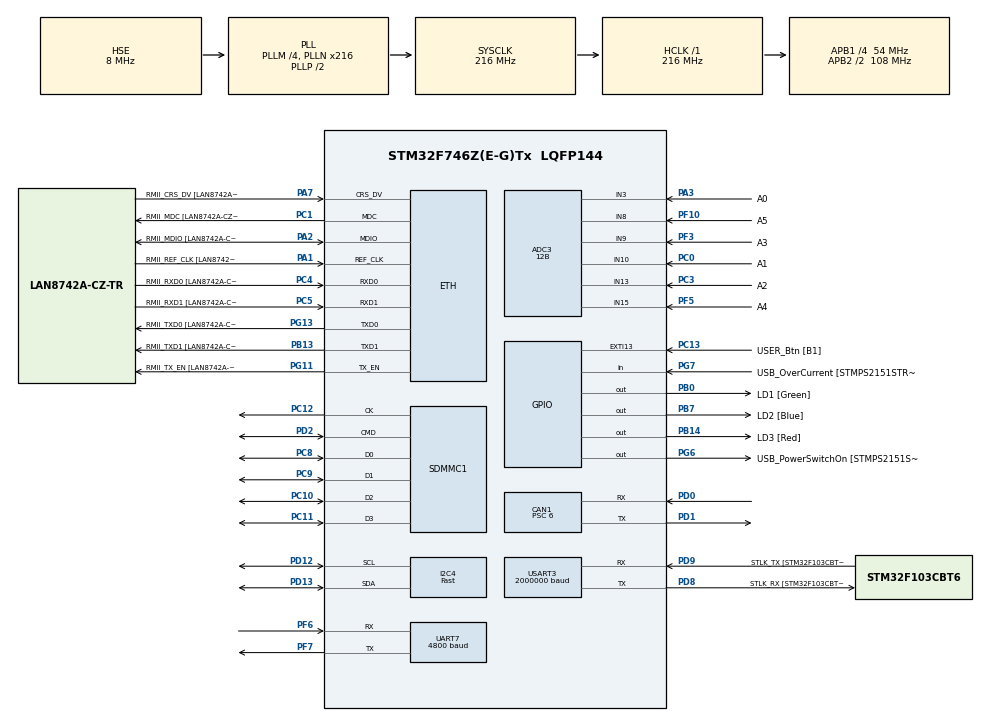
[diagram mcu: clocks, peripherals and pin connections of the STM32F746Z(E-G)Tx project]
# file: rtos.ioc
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ADC3.Channel-0\#ChannelRegularConversion=ADC_CHANNEL_3
ADC3.Channel-1\#ChannelRegularConversion=ADC_CHANNEL_10
ADC3.Channel-2\#ChannelRegularConversion=ADC_CHANNEL_13
ADC3.Channel-3\#ChannelRegularConversion=ADC_CHANNEL_9
ADC3.Channel-4\#ChannelRegularConversion=ADC_CHANNEL_15
ADC3.Channel-5\#ChannelRegularConversion=ADC_CHANNEL_8
ADC3.ClockPrescaler=ADC_CLOCK_SYNC_PCLK_DIV4
ADC3.ContinuousConvMode=ENABLE
ADC3.DMAContinuousRequests=ENABLE
ADC3.DataAlign=ADC_DATAALIGN_RIGHT
ADC3.DiscontinuousConvMode=DISABLE
ADC3.EOCSelection=ADC_EOC_SEQ_CONV
ADC3.EnableAnalogWatchDog=false
ADC3.ExternalTrigConv=ADC_SOFTWARE_START
ADC3.ExternalTrigConvEdge=ADC_EXTERNALTRIGCONVEDGE_NONE
ADC3.InjNumberOfConversion=0
ADC3.NbrOfConversion=6
ADC3.NbrOfConversionFlag=1
ADC3.Rank-0\#ChannelRegularConversion=1
ADC3.Rank-1\#ChannelRegularConversion=2
ADC3.Rank-2\#ChannelRegularConversion=3
ADC3.Rank-3\#ChannelRegularConversion=4
ADC3.Rank-4\#ChannelRegularConversion=5
ADC3.Rank-5\#ChannelRegularConversion=6
ADC3.Resolution=ADC_RESOLUTION_12B
ADC3.SamplingTime-0\#ChannelRegularConversion=ADC_SAMPLETIME_28CYCLES
ADC3.SamplingTime-1\#ChannelRegularConversion=ADC_SAMPLETIME_28CYCLES
ADC3.SamplingTime-2\#ChannelRegularConversion=ADC_SAMPLETIME_28CYCLES
ADC3.SamplingTime-3\#ChannelRegularConversion=ADC_SAMPLETIME_28CYCLES
ADC3.SamplingTime-4\#ChannelRegularConversion=ADC_SAMPLETIME_28CYCLES
ADC3.SamplingTime-5\#ChannelRegularConversion=ADC_SAMPLETIME_28CYCLES
ADC3.ScanConvMode=ENABLE
CAN1.BS1=CAN_BS1_7TQ
CAN1.BS2=CAN_BS2_1TQ
CAN1.CalculateTimeBit=1000
CAN1.CalculateTimeQuantum=111.11111111111111
CAN1.Prescaler=6
CAN1.SJW=CAN_SJW_1TQ
CORTEX_M7.ART_ACCLERATOR_ENABLE=1
CORTEX_M7.CPU_DCache=Enabled
CORTEX_M7.CPU_ICache=Enabled
CORTEX_M7.MPU_Control=__NULL
CORTEX_M7.PREFETCH_ENABLE=1
Dma.ADC3.0.Direction=DMA_PERIPH_TO_MEMORY
Dma.ADC3.0.FIFOMode=DMA_FIFOMODE_DISABLE
Dma.ADC3.0.Instance=DMA2_Stream0
Dma.ADC3.0.MemDataAlignment=DMA_MDATAALIGN_HALFWORD
Dma.ADC3.0.MemInc=DMA_MINC_ENABLE
Dma.ADC3.0.Mode=DMA_CIRCULAR
Dma.ADC3.0.PeriphDataAlignment=DMA_PDATAALIGN_HALFWORD
Dma.ADC3.0.PeriphInc=DMA_PINC_DISABLE
Dma.ADC3.0.Priority=DMA_PRIORITY_LOW
Dma.Request0=ADC3
Dma.Request1=UART7_TX
Dma.UART7_TX.1.Direction=DMA_MEMORY_TO_PERIPH
Dma.UART7_TX.1.FIFOMode=DMA_FIFOMODE_DISABLE
Dma.UART7_TX.1.Instance=DMA1_Stream1
Dma.UART7_TX.1.MemDataAlignment=DMA_MDATAALIGN_BYTE
Dma.UART7_TX.1.MemInc=DMA_MINC_ENABLE
Dma.UART7_TX.1.Mode=DMA_CIRCULAR
Dma.UART7_TX.1.PeriphDataAlignment=DMA_PDATAALIGN_BYTE
Dma.UART7_TX.1.PeriphInc=DMA_PINC_DISABLE
Dma.UART7_TX.1.Priority=DMA_PRIORITY_LOW
ETH.MediaInterface=ETH_MEDIA_INTERFACE_RMII
ETH.PHY_Name=LAN8742A_PHY_ADDRESS
ETH.PHY_Value=0
ETH.PhyAddress=0
FATFS._FS_LOCK=2
FATFS._FS_MINIMIZE=0
FATFS._USE_MKFS=1
FREERTOS.Tasks01=defaultTask,0,128,StartDefaultTask,Default,NULL,Dynamic,NULL,NULL
FREERTOS.configUSE_TIMERS=1
I2C4.I2C_Speed_Mode=I2C_Fast
I2C4.Timing=0x6000030D
LWIP.IP_ADDRESS=192.168.001.040
LWIP.LWIP_DHCP=0
LWIP.LWIP_ICMP=0
LWIP.MEMP_NUM_TCP_PCB=1
LWIP.NETMASK_ADDRESS=255.255.255.000
LWIP.Version=v2.0.0_Cube
Mcu.Family=STM32F7
Mcu.Name=STM32F746Z(E-G)Tx
Mcu.Package=LQFP144
NVIC.DMA1_Stream1_IRQn=true\:5\:0\:false\:false\:true\:true
NVIC.DMA2_Stream0_IRQn=true\:5\:0\:false\:false\:true\:true
NVIC.ETH_IRQn=true\:5\:0\:false\:false\:true\:true
NVIC.PriorityGroup=NVIC_PRIORITYGROUP_4
PA1.GPIO_Label=RMII_REF_CLK [LAN8742A-CZ-TR_REFCLK0]
PA1.Mode=RMII
PA1.Signal=ETH_REF_CLK
PA10.GPIO_Label=USB_ID
PA10.Signal=USB_OTG_FS_ID
PA11.GPIO_Label=USB_DM
PA11.Signal=USB_OTG_FS_DM
PA12.GPIO_Label=USB_DP
PA12.Signal=USB_OTG_FS_DP
PA13.GPIO_Label=TMS
PA13.Mode=Serial_Wire
PA13.Signal=SYS_JTMS-SWDIO
PA14.GPIO_Label=TCK
PA14.Mode=Serial_Wire
PA14.Signal=SYS_JTCK-SWCLK
PA2.GPIO_Label=RMII_MDIO [LAN8742A-CZ-TR_MDIO]
PA2.Mode=RMII
PA2.Signal=ETH_MDIO
PA3.GPIO_Label=A0
PA3.Signal=ADCx_IN3
PA7.GPIO_Label=RMII_CRS_DV [LAN8742A-CZ-TR_CRS_DV]
PA7.Mode=RMII
PA7.Signal=ETH_CRS_DV
PA8.GPIO_Label=USB_SOF [TP1]
PA8.Signal=USB_OTG_FS_SOF
PA9.GPIO_Label=USB_VBUS
PA9.Signal=USB_OTG_FS_VBUS
PB0.GPIO_Label=LD1 [Green]
PB0.Signal=GPIO_Output
PB13.GPIO_Label=RMII_TXD1 [LAN8742A-CZ-TR_TXD1]
PB13.Mode=RMII
PB13.Signal=ETH_TXD1
PB14.GPIO_Label=LD3 [Red]
PB14.Signal=GPIO_Output
PB3.GPIO_Label=SW0
PB3.Signal=SYS_JTDO-SWO
PB7.GPIO_Label=LD2 [Blue]
PB7.Signal=GPIO_Output
PC0.GPIO_Label=A1
PC0.Signal=ADCx_IN10
PC1.GPIO_Label=RMII_MDC [LAN8742A-CZ-TR_MDC]
PC1.Mode=RMII
PC1.Signal=ETH_MDC
PC10.GPIO_PuPd=GPIO_PULLUP
PC10.Mode=SD_4_bits_Wide_bus
PC10.Signal=SDMMC1_D2
PC11.GPIO_PuPd=GPIO_PULLUP
PC11.Mode=SD_4_bits_Wide_bus
PC11.Signal=SDMMC1_D3
PC12.GPIO_PuPd=GPIO_NOPULL
PC12.Mode=SD_4_bits_Wide_bus
PC12.Signal=SDMMC1_CK
PC13.GPIO_Label=USER_Btn [B1]
PC13.Signal=GPXTI13
PC14/OSC32_IN.Mode=LSE-External-Oscillator
PC14/OSC32_IN.Signal=RCC_OSC32_IN
PC15/OSC32_OUT.Mode=LSE-External-Oscillator
PC15/OSC32_OUT.Signal=RCC_OSC32_OUT
PC3.GPIO_Label=A2
PC3.Signal=ADCx_IN13
PC4.GPIO_Label=RMII_RXD0 [LAN8742A-CZ-TR_RXD0]
PC4.Mode=RMII
PC4.Signal=ETH_RXD0
PC5.GPIO_Label=RMII_RXD1 [LAN8742A-CZ-TR_RXD1]
PC5.Mode=RMII
PC5.Signal=ETH_RXD1
PC8.GPIO_PuPd=GPIO_PULLUP
PC8.Mode=SD_4_bits_Wide_bus
PC8.Signal=SDMMC1_D0
PC9.GPIO_PuPd=GPIO_PULLUP
PC9.Mode=SD_4_bits_Wide_bus
PC9.Signal=SDMMC1_D1
PD0.Mode=Master
PD0.Signal=CAN1_RX
PD1.Mode=Master
PD1.Signal=CAN1_TX
PD12.Mode=I2C
PD12.Signal=I2C4_SCL
PD13.Mode=I2C
PD13.Signal=I2C4_SDA
PD2.GPIO_PuPd=GPIO_PULLUP
PD2.Mode=SD_4_bits_Wide_bus
PD2.Signal=SDMMC1_CMD
PD8.GPIO_Label=STLK_RX [STM32F103CBT6_PA3]
PD8.Mode=Asynchronous
PD8.Signal=USART3_TX
PD9.GPIO_Label=STLK_TX [STM32F103CBT6_PA2]
PD9.Mode=Asynchronous
PD9.Signal=USART3_RX
PF10.GPIO_Label=A5
PF10.Mode=IN8
PF10.Signal=ADC3_IN8
PF3.GPIO_Label=A3
PF3.Mode=IN9
PF3.Signal=ADC3_IN9
PF5.GPIO_Label=A4
PF5.Mode=IN15
PF5.Signal=ADC3_IN15
PF6.Mode=Asynchronous
PF6.Signal=UART7_RX
PF7.Mode=Asynchronous
PF7.Signal=UART7_TX
PG11.GPIO_Label=RMII_TX_EN [LAN8742A-CZ-TR_TXEN]
PG11.Mode=RMII
PG11.Signal=ETH_TX_EN
PG13.GPIO_Label=RMII_TXD0 [LAN8742A-CZ-TR_TXD0]
PG13.Mode=RMII
PG13.Signal=ETH_TXD0
PG6.GPIO_Label=USB_PowerSwitchOn [STMPS2151STR_EN]
PG6.Signal=GPIO_Output
PG7.GPIO_Label=USB_OverCurrent [STMPS2151STR_FAULT]
PG7.Signal=GPIO_Input
PH0/OSC_IN.GPIO_Label=MCO [STM32F103CBT6_PA8]
PH0/OSC_IN.Mode=HSE-External-Clock-Source
PH0/OSC_IN.Signal=RCC_OSC_IN
PH1/OSC_OUT.Mode=HSE-External-Clock-Source
PH1/OSC_OUT.Signal=RCC_OSC_OUT
ProjectManager.HeapSize=0x200
ProjectManager.StackSize=0x400
ProjectManager.TargetToolchain=SW4STM32
RCC.48MHZClocksFreq_Value=24000000
RCC.AHBFreq_Value=216000000
RCC.APB1CLKDivider=RCC_HCLK_DIV4
RCC.APB1Freq_Value=54000000
RCC.APB1TimFreq_Value=108000000
RCC.APB2CLKDivider=RCC_HCLK_DIV2
RCC.APB2Freq_Value=108000000
RCC.APB2TimFreq_Value=216000000
RCC.CortexFreq_Value=216000000
RCC.HCLKFreq_Value=216000000
RCC.HSE_VALUE=8000000
RCC.HSI_VALUE=16000000
RCC.PLLM=4
RCC.PLLMUL=RCC_PLL_MUL9
RCC.PLLN=216
RCC.PLLQ=9
RCC.PLLSourceVirtual=RCC_PLLSOURCE_HSE
RCC.PRESCALERUSB=RCC_USBCLKSOURCE_PLL_DIV1_5
RCC.SDMMCClockSelection=RCC_SDMMC1CLKSOURCE_CLK48
RCC.SYSCLKFreq_VALUE=216000000
RCC.SYSCLKSource=RCC_SYSCLKSOURCE_PLLCLK
RCC.SYSCLKSourceVirtual=RCC_SYSCLKSOURCE_PLLCLK
RCC.USBFreq_Value=48000000
RCC.VCOOutputFreq_Value=432000000
SDMMC1.ClockDiv=0
SH.ADCx_IN10.0=ADC1_IN10
SH.ADCx_IN10.1=ADC3_IN10,IN10
SH.ADCx_IN13.0=ADC1_IN13
SH.ADCx_IN13.1=ADC3_IN13,IN13
SH.ADCx_IN3.0=ADC1_IN3
SH.ADCx_IN3.1=ADC3_IN3,IN3
UART7.BaudRate=4800
UART7.DMADisableonRxErrorParam=UART_ADVFEATURE_DMA_DISABLEONRXERROR
UART7.Mode=MODE_TX
UART7.WordLength=WORDLENGTH_8B
USART3.BaudRate=2000000
USART3.DMADisableonRxErrorParam=UART_ADVFEATURE_DMA_DISABLEONRXERROR
USART3.Mode=MODE_TX
USART3.OverSampling=UART_OVERSAMPLING_16
USART3.OverrunDisableParam=UART_ADVFEATURE_OVERRUN_DISABLE
USART3.VirtualMode-Asynchronous=VM_ASYNC
USART3.WordLength=WORDLENGTH_8B
VP_FATFS_VS_SDIO.Mode=SDIO
VP_FREERTOS_VS_ENABLE.Mode=Enabled
VP_LWIP_VS_Enabled.Mode=Enabled
board=NUCLEO-F746ZG

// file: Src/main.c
/**
  ******************************************************************************
  * File Name          : main.c
  * Description        : Main program body
  ******************************************************************************
  * This notice applies to any and all portions of this file
  * that are not between comment pairs USER CODE BEGIN and
  * USER CODE END. Other portions of this file, whether
  * inserted by the user or by software development tools
  * are owned by their respective copyright owners.
  *
  * Copyright (c) 2017 STMicroelectronics International N.V.
  * All rights reserved.
  *
  * Redistribution and use in source and binary forms, with or without
  * modification, are permitted, provided that the following conditions are met:
  *
  * 1. Redistribution of source code must retain the above copyright notice,
  *    this list of conditions and the following disclaimer.
  * 2. Redistributions in binary form must reproduce the above copyright notice,
  *    this list of conditions and the following disclaimer in the documentation
  *    and/or other materials provided with the distribution.
  * 3. Neither the name of STMicroelectronics nor the names of other
  *    contributors to this software may be used to endorse or promote products
  *    derived from this software without specific written permission.
  * 4. This software, including modifications and/or derivative works of this
  *    software, must execute solely and exclusively on microcontroller or
  *    microprocessor devices manufactured by or for STMicroelectronics.
  * 5. Redistribution and use of this software other than as permitted under
  *    this license is void and will automatically terminate your rights under
  *    this license.
  *
  * THIS SOFTWARE IS PROVIDED BY STMICROELECTRONICS AND CONTRIBUTORS "AS IS"
  * AND ANY EXPRESS, IMPLIED OR STATUTORY WARRANTIES, INCLUDING, BUT NOT
  * LIMITED TO, THE IMPLIED WARRANTIES OF MERCHANTABILITY, FITNESS FOR A
  * PARTICULAR PURPOSE AND NON-INFRINGEMENT OF THIRD PARTY INTELLECTUAL PROPERTY
  * RIGHTS ARE DISCLAIMED TO THE FULLEST EXTENT PERMITTED BY LAW. IN NO EVENT
  * SHALL STMICROELECTRONICS OR CONTRIBUTORS BE LIABLE FOR ANY DIRECT, INDIRECT,
  * INCIDENTAL, SPECIAL, EXEMPLARY, OR CONSEQUENTIAL DAMAGES (INCLUDING, BUT NOT
  * LIMITED TO, PROCUREMENT OF SUBSTITUTE GOODS OR SERVICES; LOSS OF USE, DATA,
  * OR PROFITS; OR BUSINESS INTERRUPTION) HOWEVER CAUSED AND ON ANY THEORY OF
  * LIABILITY, WHETHER IN CONTRACT, STRICT LIABILITY, OR TORT (INCLUDING
  * NEGLIGENCE OR OTHERWISE) ARISING IN ANY WAY OUT OF THE USE OF THIS SOFTWARE,
  * EVEN IF ADVISED OF THE POSSIBILITY OF SUCH DAMAGE.
  *
  ******************************************************************************
  */
#include "main.h"
#include "stm32f7xx_hal.h"
#include "cmsis_os.h"
#include "adc.h"
#include "can.h"
#include "dma.h"
#include "fatfs.h"
#include "i2c.h"
#include "lwip.h"
#include "sdmmc.h"
#include "usart.h"
#include "gpio.h"

/* USER CODE BEGIN Includes */
#include "retarget.h"
#include "logging.h"
#include "dashboard.h"
#include "sampling.h"
#include "telemetry.h"
#include "databuffer.h"

/* USER CODE END Includes */

/* USER CODE BEGIN PV */
/* Private variables ---------------------------------------------------------*/

/* USER CODE END PV */

void SystemClock_Config(void);
void MX_FREERTOS_Init(void);

/* USER CODE BEGIN PFP */
/* Private function prototypes -----------------------------------------------*/

void blinkThread(void const *argument);

/* USER CODE END PFP */

int main(void)
{

  /* Enable I-Cache-------------------------------------------------------------*/
  SCB_EnableICache();

  /* Enable D-Cache-------------------------------------------------------------*/
  SCB_EnableDCache();

  /* MCU Configuration----------------------------------------------------------*/

  /* Reset of all peripherals, Initializes the Flash interface and the Systick. */
  HAL_Init();

  /* Configure the system clock */
  SystemClock_Config();

  /* Initialize all configured peripherals */
  MX_GPIO_Init();
  MX_DMA_Init();
  MX_USART3_UART_Init();
  MX_CAN1_Init();
  MX_SDMMC1_SD_Init();
  MX_ADC3_Init();
  MX_UART7_Init();
  MX_I2C4_Init();

  /* USER CODE BEGIN 2 */

  RetargetInit(&huart3);
  printf("\n\nWelcome to the debug interface, good luck!\n");

  setupCANfilter();
  printf("CAN ready\n");

  setupBuffers();

  osThreadDef(telemetry, telemetryThread, osPriorityNormal, 0, 1024);
  osThreadCreate(osThread(telemetry), NULL);

  osThreadDef(log, loggingThread, osPriorityNormal, 0, 1024);
  osThreadCreate(osThread(log), NULL);

  osThreadDef(dash, dashThread, osPriorityNormal, 0, 256);
  osThreadCreate(osThread(dash), NULL);

  osThreadDef(sampling, samplingThread, osPriorityHigh, 0, 128);
  osThreadCreate(osThread(sampling), NULL);

  /* USER CODE END 2 */

  /* Call init function for freertos objects (in freertos.c) */
  MX_FREERTOS_Init();

  /* Start scheduler */
  osKernelStart();

  /* We should never get here as control is now taken by the scheduler */

  /* Infinite loop */
  while (1)
  {

  }

}

/** System Clock Configuration
*/
void SystemClock_Config(void)
{

  RCC_OscInitTypeDef RCC_OscInitStruct;
  RCC_ClkInitTypeDef RCC_ClkInitStruct;
  RCC_PeriphCLKInitTypeDef PeriphClkInitStruct;

    /**Configure the main internal regulator output voltage
    */
  __HAL_RCC_PWR_CLK_ENABLE();

  __HAL_PWR_VOLTAGESCALING_CONFIG(PWR_REGULATOR_VOLTAGE_SCALE1);

    /**Initializes the CPU, AHB and APB busses clocks
    */
  RCC_OscInitStruct.OscillatorType = RCC_OSCILLATORTYPE_HSE;
  RCC_OscInitStruct.HSEState = RCC_HSE_BYPASS;
  RCC_OscInitStruct.PLL.PLLState = RCC_PLL_ON;
  RCC_OscInitStruct.PLL.PLLSource = RCC_PLLSOURCE_HSE;
  RCC_OscInitStruct.PLL.PLLM = 4;
  RCC_OscInitStruct.PLL.PLLN = 216;
  RCC_OscInitStruct.PLL.PLLP = RCC_PLLP_DIV2;
  RCC_OscInitStruct.PLL.PLLQ = 9;
  if (HAL_RCC_OscConfig(&RCC_OscInitStruct) != HAL_OK)
  {
    _Error_Handler(__FILE__, __LINE__);
  }

    /**Activate the Over-Drive mode
    */
  if (HAL_PWREx_EnableOverDrive() != HAL_OK)
  {
    _Error_Handler(__FILE__, __LINE__);
  }

    /**Initializes the CPU, AHB and APB busses clocks
    */
  RCC_ClkInitStruct.ClockType = RCC_CLOCKTYPE_HCLK|RCC_CLOCKTYPE_SYSCLK
                              |RCC_CLOCKTYPE_PCLK1|RCC_CLOCKTYPE_PCLK2;
  RCC_ClkInitStruct.SYSCLKSource = RCC_SYSCLKSOURCE_PLLCLK;
  RCC_ClkInitStruct.AHBCLKDivider = RCC_SYSCLK_DIV1;
  RCC_ClkInitStruct.APB1CLKDivider = RCC_HCLK_DIV4;
  RCC_ClkInitStruct.APB2CLKDivider = RCC_HCLK_DIV2;

  if (HAL_RCC_ClockConfig(&RCC_ClkInitStruct, FLASH_LATENCY_7) != HAL_OK)
  {
    _Error_Handler(__FILE__, __LINE__);
  }

  PeriphClkInitStruct.PeriphClockSelection = RCC_PERIPHCLK_USART3|RCC_PERIPHCLK_UART7
                              |RCC_PERIPHCLK_I2C4|RCC_PERIPHCLK_SDMMC1
                              |RCC_PERIPHCLK_CLK48;
  PeriphClkInitStruct.Usart3ClockSelection = RCC_USART3CLKSOURCE_PCLK1;
  PeriphClkInitStruct.Uart7ClockSelection = RCC_UART7CLKSOURCE_PCLK1;
  PeriphClkInitStruct.I2c4ClockSelection = RCC_I2C4CLKSOURCE_PCLK1;
  PeriphClkInitStruct.Clk48ClockSelection = RCC_CLK48SOURCE_PLL;
  PeriphClkInitStruct.Sdmmc1ClockSelection = RCC_SDMMC1CLKSOURCE_CLK48;
  if (HAL_RCCEx_PeriphCLKConfig(&PeriphClkInitStruct) != HAL_OK)
  {
    _Error_Handler(__FILE__, __LINE__);
  }

    /**Configure the Systick interrupt time
    */
  HAL_SYSTICK_Config(HAL_RCC_GetHCLKFreq()/1000);

    /**Configure the Systick
    */
  HAL_SYSTICK_CLKSourceConfig(SYSTICK_CLKSOURCE_HCLK);

  /* SysTick_IRQn interrupt configuration */
  HAL_NVIC_SetPriority(SysTick_IRQn, 15, 0);
}

void _Error_Handler(char * file, int line)
{
  while(1)
  {
  }
}

/************************ (C) COPYRIGHT STMicroelectronics *****END OF FILE****/
